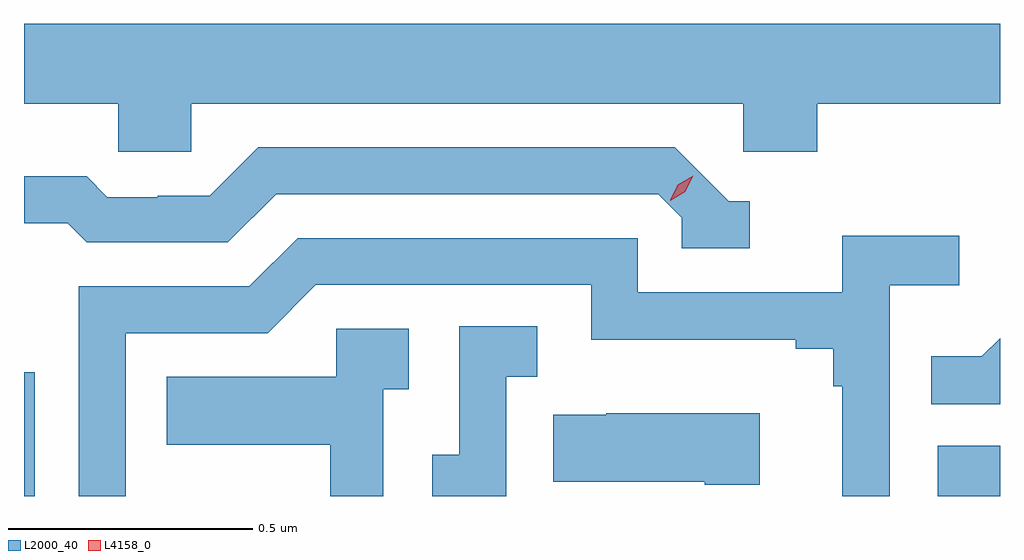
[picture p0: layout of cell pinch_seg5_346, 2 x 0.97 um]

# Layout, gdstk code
import gdstk
lib = gdstk.Library(unit=1e-6, precision=1e-09)
def R(c, l, rs):  # rectangles x0, y0, x1, y1
    for r in rs: c.add(gdstk.rectangle(r[:2], r[2:], *l))
def P(c, l, *ps):  # polygons
    for p in ps: c.add(gdstk.Polygon(p, *l))
L2000_40 = (2000, 40)
L4158_0 = (4158, 0)

pinch_seg5_346 = lib.new_cell('pinch_seg5_346')
R(pinch_seg5_346, L2000_40, [(998.858,886.592,998.88,886.846), (1000.73,886.592,1000.858,886.695)])
P(pinch_seg5_346, L2000_40, [(999.201,887.396),(1000.332,887.396),(1000.332,887.298),(1000.484,887.298),(1000.484,887.396),(1000.858,887.396),(1000.858,887.56),(998.858,887.56),(998.858,887.396),(999.051,887.396),(999.051,887.298),(999.201,887.298)],
  [(1000.345,887.196),(1000.302,887.196),(1000.191,887.307),(999.338,887.307),(999.239,887.208),(999.132,887.208),(999.132,887.205),(999.029,887.205),(998.987,887.248),(998.858,887.248),(998.858,887.151),(998.948,887.151),(998.987,887.112),(999.276,887.112),(999.375,887.211),(1000.158,887.211),(1000.206,887.163),(1000.206,887.1),(1000.345,887.1)],
  [(999.066,886.926),(999.357,886.926),(999.456,887.025),(1000.02,887.025),(1000.02,886.913),(1000.439,886.913),(1000.439,886.894),(1000.516,886.894),(1000.516,886.817),(1000.535,886.817),(1000.535,886.592),(1000.632,886.592),(1000.632,887.024),(1000.774,887.024),(1000.774,887.126),(1000.535,887.126),(1000.535,887.01),(1000.116,887.01),(1000.116,887.121),(999.419,887.121),(999.32,887.022),(998.97,887.022),(998.97,886.592),(999.066,886.592)],
  [(999.846,886.837),(999.91,886.837),(999.91,886.94),(999.75,886.94),(999.75,886.677),(999.695,886.677),(999.695,886.592),(999.846,886.592)],
  [(999.594,886.811),(999.646,886.811),(999.646,886.935),(999.498,886.935),(999.498,886.837),(999.151,886.837),(999.151,886.697),(999.486,886.697),(999.486,886.592),(999.594,886.592)],
  [(1000.858,886.916),(1000.821,886.879),(1000.717,886.879),(1000.717,886.78),(1000.858,886.78)],
  [(1000.366,886.762),(1000.051,886.762),(1000.051,886.759),(999.943,886.759),(999.943,886.622),(1000.253,886.622),(1000.253,886.615),(1000.366,886.615)])
P(pinch_seg5_346, L4158_0, [(1000.182,887.197),(1000.182,887.198),(1000.198,887.23),(1000.229,887.249),(1000.229,887.249),(1000.229,887.249),(1000.213,887.216),(1000.182,887.197)])

lib.write_gds('pinch_seg5_346.gds')
